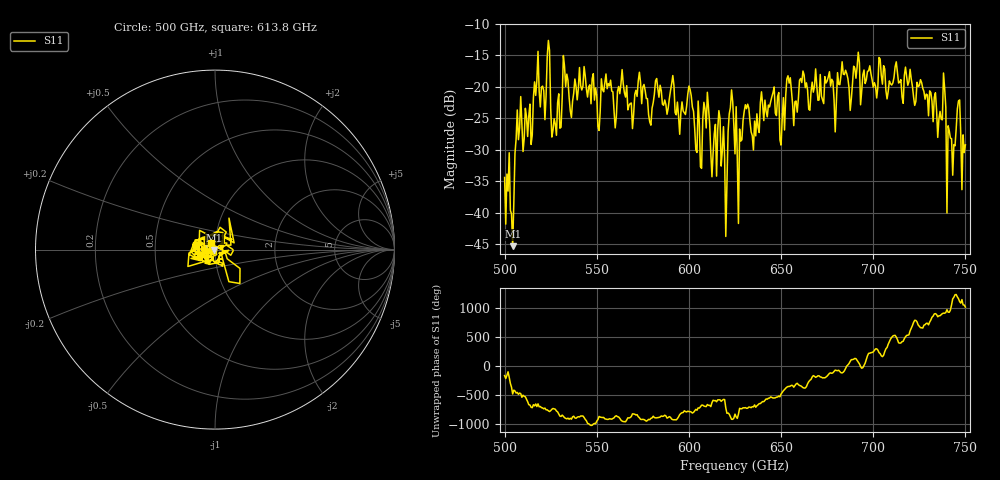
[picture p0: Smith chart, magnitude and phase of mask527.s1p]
!Created with skrf (http://scikit-rf.org).
# GHz S MA R 50.0
!freq magS11 angS11
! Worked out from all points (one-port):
!   401 points, 500 GHz to 750 GHz, reference 50 ohm
!   lowest |S11| = -45.3 dB at 504.4 GHz (marker M1), VSWR 1.01, Z = 49.7 - j0.448 ohm
!   |S11| at or under -10 dB: start of sweep to end of sweep
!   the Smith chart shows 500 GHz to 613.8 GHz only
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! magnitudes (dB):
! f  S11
! 500 GHz  -34.4
! 504.4 GHz  -45.3
! 507.5 GHz  -28.4
! 513.8 GHz  -22.7
! 516.9 GHz  -21.4
! 523.8 GHz  -12.6
! 526.9 GHz  -25.1
! 531.2 GHz  -21.8
! 562.5 GHz  -21.1
! 579.4 GHz  -26.1
! 590.6 GHz  -19.5
! 593.8 GHz  -22.4
! 600.6 GHz  -20.4
! 605.6 GHz  -25.7
! 609.4 GHz  -26.5
! 613.8 GHz  -27.5
! 617.5 GHz  -32.6
! 619.4 GHz  -31.4
! 622.5 GHz  -23.3
! 625 GHz  -30.7
! 627.5 GHz  -26.7
! 631.2 GHz  -23.5
! 635 GHz  -30.0
! 656.2 GHz  -22.7
! 687.5 GHz  -23.7
! 691.2 GHz  -16.9
! 718.8 GHz  -19.7
! 750 GHz  -29.2
